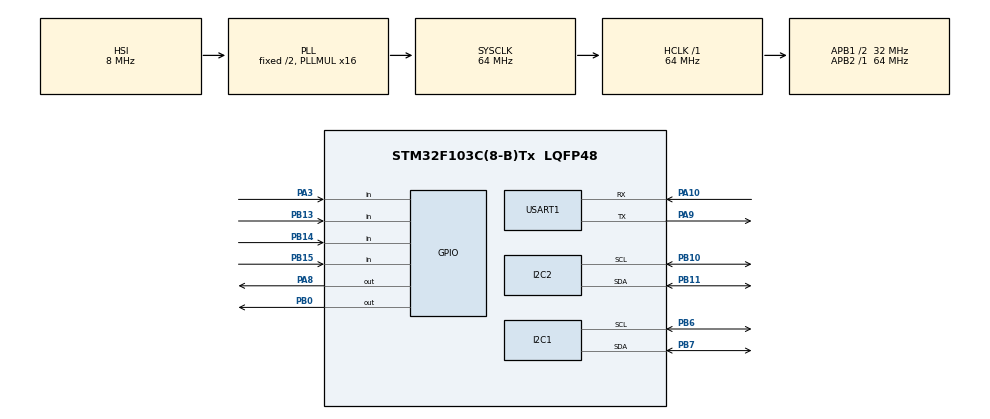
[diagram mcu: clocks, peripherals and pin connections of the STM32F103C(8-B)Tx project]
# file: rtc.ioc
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FREERTOS.Tasks01=Temp_Humid_Task,0,128,Start_Temp_Humid_Task,Default,NULL,Dynamic,NULL,NULL
I2C1.I2C_Mode=I2C_Fast
I2C2.I2C_Mode=I2C_Standard
Mcu.Family=STM32F1
Mcu.Name=STM32F103C(8-B)Tx
Mcu.Package=LQFP48
NVIC.PriorityGroup=NVIC_PRIORITYGROUP_4
PA10.Mode=Asynchronous
PA10.Signal=USART1_RX
PA13.Mode=Serial_Wire
PA13.Signal=SYS_JTMS-SWDIO
PA14.Mode=Serial_Wire
PA14.Signal=SYS_JTCK-SWCLK
PA3.GPIO_PuPd=GPIO_PULLUP
PA3.Signal=GPIO_Input
PA8.Signal=GPIO_Output
PA9.Mode=Asynchronous
PA9.Signal=USART1_TX
PB0.GPIO_ModeDefaultOutputPP=GPIO_MODE_OUTPUT_PP
PB0.GPIO_PuPd=GPIO_PULLUP
PB0.Signal=GPIO_Output
PB10.Mode=I2C
PB10.Signal=I2C2_SCL
PB11.Mode=I2C
PB11.Signal=I2C2_SDA
PB13.GPIO_PuPd=GPIO_PULLUP
PB13.Signal=GPIO_Input
PB14.GPIO_PuPd=GPIO_PULLUP
PB14.Signal=GPIO_Input
PB15.GPIO_PuPd=GPIO_PULLUP
PB15.Signal=GPIO_Input
PB6.Mode=I2C
PB6.Signal=I2C1_SCL
PB7.Mode=I2C
PB7.Signal=I2C1_SDA
ProjectManager.HeapSize=0x200
ProjectManager.StackSize=0x400
ProjectManager.TargetToolchain=MDK-ARM V5.32
RCC.AHBFreq_Value=64000000
RCC.APB1CLKDivider=RCC_HCLK_DIV2
RCC.APB1Freq_Value=32000000
RCC.APB1TimFreq_Value=64000000
RCC.APB2Freq_Value=64000000
RCC.APB2TimFreq_Value=64000000
RCC.HCLKFreq_Value=64000000
RCC.PLLMUL=RCC_PLL_MUL16
RCC.SYSCLKFreq_VALUE=64000000
RCC.SYSCLKSource=RCC_SYSCLKSOURCE_PLLCLK
RCC.USBFreq_Value=64000000
TIM2.Prescaler=63
USART1.VirtualMode=VM_ASYNC
VP_FREERTOS_VS_CMSIS_V1.Mode=CMSIS_V1
VP_TIM2_VS_ClockSourceINT.Mode=Internal
board=custom

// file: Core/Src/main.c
/* USER CODE BEGIN Header */
/**
  ******************************************************************************
  * @file           : main.c
  * @brief          : Main program body
  ******************************************************************************
  * @attention
  *
  * Copyright (c) 2025 STMicroelectronics.
  * All rights reserved.
  *
  * This software is licensed under terms that can be found in the LICENSE file
  * in the root directory of this software component.
  * If no LICENSE file comes with this software, it is provided AS-IS.
  *
  ******************************************************************************
  */
/* USER CODE END Header */
#include "main.h"
#include "cmsis_os.h"

I2C_HandleTypeDef hi2c1;
I2C_HandleTypeDef hi2c2;

TIM_HandleTypeDef htim2;

UART_HandleTypeDef huart1;

osThreadId Temp_Humid_TaskHandle;

void SystemClock_Config(void);
static void MX_GPIO_Init(void);
static void MX_I2C1_Init(void);
static void MX_I2C2_Init(void);
static void MX_TIM2_Init(void);
static void MX_USART1_UART_Init(void);
void Start_Temp_Humid_Task(void const * argument);

/* USER CODE BEGIN 0 */
osThreadId Time_TaskHandle;
void Start_Time_Task(void const * argument);

osThreadId Button_TaskHandle;
void Start_Button_Task(void const * argument);

osMutexId i2cMutex_handle;

#include "ssd1306.h"
#include "fonts.h"
#include "Button.h"
#include "DHT11.h"
#include "stdio.h"
#include "stdarg.h"

#define RTC_ADD (0x68<<1)

uint8_t Dec_to_BCD(uint8_t num);
uint8_t BCD_to_Dec(uint8_t num);
void RTC_set_time_value(void);
void RTC_set_alarm_value(void);
void RTC_alarm_check(void);
void Delay_ms(uint16_t ms);
void Delay_us(uint16_t us);
void DHT_set_output(void);
void DHT_set_input(void);

const char dow_arr[][4] = {{"SUN"},{"MON"},{"TUE"},{"WED"},{"THU"},{"FRI"},{"SAT"}}; //day of week
volatile uint8_t oled_clear_request = 0;

typedef struct{
	int8_t sec;
	int8_t min;
	int8_t hour;
	int8_t dow;
	int8_t date;
	int8_t month;
	int8_t year;
}Time_Data;

typedef enum{
	NORMAL_DISPLAY_STATE,
	CHANGE_HOUR_STATE,
	CHANGE_MIN_STATE,
	CHANGE_DATE_STATE,
	CHANGE_MONTH_STATE,
	CHANGE_YEAR_STATE,
	CHANGE_ALARM_HOUR_STATE,
	CHANGE_ALARM_MIN_STATE,
	//SET_ALARM_STATE,
	//NOT_SET_ALARM_STATE
}RTC_STATE;
RTC_STATE clock_state = NORMAL_DISPLAY_STATE;

Time_Data data_set;

Button_TypeDef btn_function;
Button_TypeDef btn_up;
Button_TypeDef btn_down;
Button_TypeDef btn_confirm;

DHT11_Typedef dht11_val;

int8_t alarm_hour = 1;
int8_t alarm_min;
char buff_uart[40];

uint8_t response;
//uint8_t is_alarm = 0; // alarm not set
//========================================GET TIME AND WRITE TIME=========================
void RTC_write(Time_Data *data)
{
	uint8_t buff_data[8];
	buff_data[0] = 0x00; //start reg address
	buff_data[1] = Dec_to_BCD(data->sec);
	buff_data[2] = Dec_to_BCD(data->min);
	buff_data[3] = Dec_to_BCD(data->hour);
	buff_data[4] = Dec_to_BCD(data->dow);
	buff_data[5] = Dec_to_BCD(data->date);
	buff_data[6] = Dec_to_BCD(data->month);
	buff_data[7] = Dec_to_BCD(data->year);
	HAL_I2C_Master_Transmit(&hi2c2, RTC_ADD, buff_data, 8, 100);
}

void RTC_read(Time_Data *data)
{
	uint8_t buff_data[7];
	uint8_t reg_address = 0;
	HAL_I2C_Master_Transmit(&hi2c2, RTC_ADD, &reg_address, 1, 100);
	HAL_I2C_Master_Receive(&hi2c2, RTC_ADD, buff_data, 7, 100);
	data->sec = BCD_to_Dec(buff_data[0]);
	data->min = BCD_to_Dec(buff_data[1]);
	data->hour = BCD_to_Dec(buff_data[2]);
	data->dow = BCD_to_Dec(buff_data[3]);
	data->date = BCD_to_Dec(buff_data[4]);
	data->month = BCD_to_Dec(buff_data[5]);
	data->year = BCD_to_Dec(buff_data[6]);
}

uint8_t Dec_to_BCD(uint8_t num)
{
	return (num/10)<<4|(num%10);
}

uint8_t BCD_to_Dec(uint8_t num)
{
	return (num>>4)*10+(num&0x0F);
}
//============================================date, month, year handle============================
uint8_t RTC_get_day_of_week(Time_Data *data)
{
	uint16_t date = data->date;
	uint16_t month = data->month;
	uint16_t year = 2000 + data->year;
	uint16_t dow = (date += month < 3 ? year-- : year-2, 23*month/9 + date + 4 + year/4 - year/100 + year/400)%7;
	return dow;
}

uint8_t RTC_check_leap_year(uint8_t year)
{
	if((year % 4) == 0 & (year % 100) != 0 || (year % 400) == 0)
	{
		return 1;
	}
	return 0;
}

uint8_t RTC_get_day_of_month(uint8_t month, uint8_t year)
{
	switch(month)
	{
		case 1: case 3: case 5: case 7: case 8: case 10: case 12:
			return 31;
			break;
		case 4: case 6: case 9: case 11:
			return 30;
			break;
		case 2:
			if(RTC_check_leap_year(year))
			{
				return 29;
			}
	}
	return 28;
}

//==================================Main screen handle==================================================
void RTC_display()
{
	uint8_t buff_hour[16];
	uint8_t buff_date[16];
	uint8_t buff_temp[16];
	uint8_t buff_humid[16];
	uint8_t buff_alarm_status[16];
	uint8_t dow = RTC_get_day_of_week(&data_set);

	sprintf((char*)buff_hour, "%02d:%02d:%02d", data_set.hour, data_set.min, data_set.sec);
	sprintf((char*)buff_date, "%s  %02d/%02d/20%02d", dow_arr[dow], data_set.date,
													data_set.month, data_set.year);
	sprintf((char*)buff_temp, "Temp: %d.%d*C", dht11_val.int_Temp, dht11_val.dec_Temp);
	sprintf((char*)buff_humid, "Humid: %d%s", dht11_val.int_RH, "%RH");

	static uint32_t time_read = 0;
	if(HAL_GetTick() - time_read >= 1000)
	{
		osMutexWait(i2cMutex_handle, osWaitForever);
		//=======Display time=======================
		RTC_read(&data_set);
		SSD1306_GotoXY(10,0);
		SSD1306_Puts((char*)buff_hour, &Font_7x10, 1);
		SSD1306_GotoXY(10,15); //col; row
		SSD1306_Puts((char*)buff_date, &Font_7x10, 1);
		//=======Display temp and humid============
		SSD1306_GotoXY(10,30);
		SSD1306_Puts((char*)buff_temp, &Font_7x10, 1);
		SSD1306_GotoXY(10,45);
		SSD1306_Puts((char*)buff_humid, &Font_7x10, 1);

		SSD1306_UpdateScreen();
		osMutexRelease(i2cMutex_handle);
		time_read = HAL_GetTick();
	}

}

void RTC_handle()
{
	switch(clock_state)
	{
		case NORMAL_DISPLAY_STATE:
			RTC_display();
			RTC_alarm_check();
			break;
		case CHANGE_HOUR_STATE:
		case CHANGE_MIN_STATE:
		case CHANGE_DATE_STATE:
		case CHANGE_MONTH_STATE:
		case CHANGE_YEAR_STATE:
			RTC_set_time_value();
			break;
		case CHANGE_ALARM_HOUR_STATE:
		case CHANGE_ALARM_MIN_STATE:
			RTC_set_alarm_value();
			break;
		default: break;
	}
}
//===============================Setting main screen RTC params===================
void RTC_set_time_value()
{
	static uint32_t time = 0;
	static uint8_t is_showing = 1;
	char buff_line1[16];
	char buff_line2[16];

	if(HAL_GetTick() - time > 300)
	{
		osMutexWait(i2cMutex_handle, osWaitForever);
		is_showing = !is_showing;
		RTC_read(&data_set);
		uint8_t dow = RTC_get_day_of_week(&data_set);
		sprintf((char*)buff_line1, "%02d:%02d:%02d", data_set.hour, data_set.min, data_set.sec);
		sprintf((char*)buff_line2, "%s  %02d/%02d/20%02d", dow_arr[dow], data_set.date,
														   data_set.month, data_set.year);
		if(!is_showing)
		{
			switch(clock_state)
			{
				case CHANGE_HOUR_STATE:
					buff_line1[0] = buff_line1[1] = ' ';
					break;
				case CHANGE_MIN_STATE:
					buff_line1[3] = buff_line1[4] = ' ';
					break;
				case CHANGE_DATE_STATE:
					buff_line2[5] = buff_line2[6] = ' ';
					break;
				case CHANGE_MONTH_STATE:
					buff_line2[8] = buff_line2[9] = ' ';
					break;
				case CHANGE_YEAR_STATE:
					buff_line2[11] = buff_line2[12] = buff_line2[13] = buff_line2[14] = ' ';
					break;
			}
		}
		SSD1306_GotoXY(10,0);
		SSD1306_Puts((char*)buff_line1, &Font_7x10, 1);

		SSD1306_GotoXY(10,15); //col; row
		SSD1306_Puts((char*)buff_line2, &Font_7x10, 1);

		SSD1306_UpdateScreen();
		osMutexRelease(i2cMutex_handle);
		time = HAL_GetTick();
	}
}

//==================================ALARM HANDLE===================================
uint8_t alarm_status;
void RTC_alarm_check()
{
	if(alarm_hour == data_set.hour && alarm_min == data_set.min)
	{
		static uint32_t time;
		if(HAL_GetTick() - time > 300)
		{
			alarm_status = !alarm_status;
			HAL_GPIO_WritePin(GPIOA, GPIO_PIN_8, alarm_status);
			time = HAL_GetTick();
		}
	}
	HAL_GPIO_WritePin(GPIOA, GPIO_PIN_8, 0);

}

void RTC_set_alarm_value()
{
	static uint32_t time = 0;
	static uint8_t is_showing = 1;
	char buff_alarm_time[16];

	if(HAL_GetTick() - time > 300)
	{
		osMutexWait(i2cMutex_handle, osWaitForever);
		is_showing = !is_showing;
		RTC_read(&data_set);
		sprintf(buff_alarm_time, "%02d : %02d", alarm_hour, alarm_min);
		if(!is_showing)
		{
			switch(clock_state)
			{
				case CHANGE_ALARM_HOUR_STATE:
					buff_alarm_time[0] = buff_alarm_time[1] = ' ';
					break;
				case CHANGE_ALARM_MIN_STATE:
					buff_alarm_time[5] = buff_alarm_time[6] = ' ';
					break;
				default:
					break;
			}
		}
		SSD1306_GotoXY(0,0);
		SSD1306_Puts("ALARM CLOCK", &Font_11x18, 1);

		SSD1306_GotoXY(10,30); //col; row
		SSD1306_Puts(buff_alarm_time, &Font_11x18, 1);

		SSD1306_UpdateScreen();
		osMutexRelease(i2cMutex_handle);
		time = HAL_GetTick();
	}
}

//============================CHANGE CLOCK VALUE=======================
void RTC_change_val(int8_t *clock_val, int8_t low_limit, int8_t up_limit, int8_t plus)
{
	if(plus)
	{
		(*clock_val)++;
		if(*clock_val > up_limit)
		{
				*clock_val = low_limit;
		}
	}
	else
	{
		(*clock_val)--;
		if(*clock_val < low_limit)
		{
				*clock_val = up_limit;
		}
	}
}

void RTC_value_button_handle(int8_t plus)
{
switch(clock_state)
		{
			case CHANGE_HOUR_STATE:
			{
				osMutexWait(i2cMutex_handle, osWaitForever);
				RTC_change_val(&data_set.hour,0,23,plus);
				RTC_write(&data_set);
				osMutexRelease(i2cMutex_handle);
				break;
			}
			case CHANGE_MIN_STATE:
			{
				osMutexWait(i2cMutex_handle, osWaitForever);
				RTC_change_val(&data_set.min,0,59,plus);
				RTC_write(&data_set);
				osMutexRelease(i2cMutex_handle);
				break;
			}
			case CHANGE_DATE_STATE:
			{
				osMutexWait(i2cMutex_handle, osWaitForever);
				uint8_t day_in_mon = RTC_get_day_of_month(data_set.month, data_set.year);
				RTC_change_val(&data_set.date,1,day_in_mon,plus);
				RTC_write(&data_set);
				osMutexRelease(i2cMutex_handle);
				break;
			}
			case CHANGE_MONTH_STATE:
			{
				osMutexWait(i2cMutex_handle, osWaitForever);
				RTC_change_val(&data_set.month,1,12,plus);
				RTC_write(&data_set);
				osMutexRelease(i2cMutex_handle);
				break;
			}
			case CHANGE_YEAR_STATE:
			{
				osMutexWait(i2cMutex_handle, osWaitForever);
				RTC_change_val(&data_set.year,0,99,plus);
				RTC_write(&data_set);
				osMutexRelease(i2cMutex_handle);
				break;
			}
			case CHANGE_ALARM_HOUR_STATE:
			{
				RTC_change_val(&alarm_hour,0,23,plus);
				break;
			}
			case CHANGE_ALARM_MIN_STATE:
			{
				RTC_change_val(&alarm_min,0,59,plus);
				break;
			}
			default:
				break;
		}
}
//============================BUTTON HANDLE===================
void btnpress_callback(Button_TypeDef *Buttonx)
{
	if(Buttonx == &btn_up)
	{
		RTC_value_button_handle(1);
	}
	else if(Buttonx == &btn_down)
	{
		RTC_value_button_handle(0);
	}
}

void short_press_callback(Button_TypeDef *Buttonx)
{
	if(Buttonx == &btn_function)
	{
		switch(clock_state)
		{
			case NORMAL_DISPLAY_STATE:
				clock_state = CHANGE_HOUR_STATE;
				break;
			case CHANGE_HOUR_STATE:
				clock_state = CHANGE_MIN_STATE;
				break;
			case CHANGE_MIN_STATE:
				clock_state = CHANGE_DATE_STATE;
				break;
			case CHANGE_DATE_STATE:
				clock_state = CHANGE_MONTH_STATE;
				break;
			case CHANGE_MONTH_STATE:
				clock_state = CHANGE_YEAR_STATE;
				break;
			case CHANGE_YEAR_STATE:
				clock_state = NORMAL_DISPLAY_STATE;
				break;
			//=======Temporary====================
			case CHANGE_ALARM_HOUR_STATE:
				clock_state = CHANGE_ALARM_MIN_STATE;
				break;
			case CHANGE_ALARM_MIN_STATE:
				osMutexWait(i2cMutex_handle, osWaitForever);
				SSD1306_Clear();
				osMutexWait(i2cMutex_handle, osWaitForever);
				clock_state = NORMAL_DISPLAY_STATE;
				break;
			default:
				break;
		}
	}
}

void long_press_callback(Button_TypeDef *Buttonx)
{
	if(Buttonx == &btn_function)
	{
		clock_state = CHANGE_ALARM_HOUR_STATE;
		oled_clear_request = 1;
//		SSD1306_Clear();
//		SSD1306_GotoXY(0,0);
//		SSD1306_Puts("ALARM CLOCK", &Font_11x18, 1);
//		SSD1306_UpdateScreen();
	}
}
//==============================UART PRINT==============================
void Print_uart(const char*format,...)
{
	for(uint8_t i=0; i<40; i++)
	{
		buff_uart[i] = 0;
	}
	va_list args;
	va_start(args, format);
	vsnprintf(buff_uart, sizeof(buff_uart), format, args);
	va_end(args);
	HAL_UART_Transmit(&huart1, (uint8_t*)buff_uart, 40, 1000);
}

void I2C_Scan(I2C_HandleTypeDef *hi2c) {
    char msg[64];
    for (uint8_t i = 1; i < 127; i++) {
        if (HAL_I2C_IsDeviceReady(hi2c, (uint16_t)(i<<1), 1, 10) == HAL_OK) {
            sprintf(msg, "I2C device found at 0x%X\r\n", i);
            HAL_UART_Transmit(&huart1, (uint8_t*)msg, strlen(msg), 100);
        }
    }
}
/* USER CODE END 0 */

int main(void)
{

  /* MCU Configuration--------------------------------------------------------*/

  /* Reset of all peripherals, Initializes the Flash interface and the Systick. */
  HAL_Init();

  /* Configure the system clock */
  SystemClock_Config();

  /* Initialize all configured peripherals */
  MX_GPIO_Init();
  MX_I2C1_Init();
  MX_I2C2_Init();
  MX_TIM2_Init();
  MX_USART1_UART_Init();
  /* USER CODE BEGIN 2 */

	DHT11_init(&htim2);
	//SSD1306_Init();
	Button_init(&btn_function, GPIOB, GPIO_PIN_13);
	Button_init(&btn_up, GPIOB, GPIO_PIN_14);
	Button_init(&btn_down, GPIOB, GPIO_PIN_15);
	Button_init(&btn_confirm, GPIOA, GPIO_PIN_3);
//  data_set.sec = 30;
//  data_set.min = 56;
//  data_set.hour = 16;
//  data_set.date = 12;
//  data_set.month = 8;
//  data_set.year = 25;
//  RTC_write(&data_set);

  /* USER CODE END 2 */

  /* USER CODE BEGIN RTOS_MUTEX */
  /* add mutexes, ... */
  osMutexDef(i2c_Mutex);
  i2cMutex_handle = osMutexCreate(osMutex(i2c_Mutex));
  /* USER CODE END RTOS_MUTEX */

  /* Create the thread(s) */
  /* definition and creation of Temp_Humid_Task */
  osThreadDef(Temp_Humid_Task, Start_Temp_Humid_Task, osPriorityNormal, 0, 128);
  Temp_Humid_TaskHandle = osThreadCreate(osThread(Temp_Humid_Task), NULL);

  /* USER CODE BEGIN RTOS_THREADS */
  osThreadDef(Time_Task, Start_Time_Task, 1, 0, 128);
  Time_TaskHandle = osThreadCreate(osThread(Time_Task), NULL);

  osThreadDef(Button_Task, Start_Button_Task, 1, 0, 128);
  Button_TaskHandle = osThreadCreate(osThread(Button_Task), NULL);
  /* add threads, ... */
  /* USER CODE END RTOS_THREADS */

  /* Start scheduler */
  osKernelStart();

  /* We should never get here as control is now taken by the scheduler */

  /* Infinite loop */
  while (1)
  {

  }
}

void SystemClock_Config(void)
{
  RCC_OscInitTypeDef RCC_OscInitStruct = {0};
  RCC_ClkInitTypeDef RCC_ClkInitStruct = {0};

  /** Initializes the RCC Oscillators according to the specified parameters
  * in the RCC_OscInitTypeDef structure.
  */
  RCC_OscInitStruct.OscillatorType = RCC_OSCILLATORTYPE_HSI;
  RCC_OscInitStruct.HSIState = RCC_HSI_ON;
  RCC_OscInitStruct.HSICalibrationValue = RCC_HSICALIBRATION_DEFAULT;
  RCC_OscInitStruct.PLL.PLLState = RCC_PLL_ON;
  RCC_OscInitStruct.PLL.PLLSource = RCC_PLLSOURCE_HSI_DIV2;
  RCC_OscInitStruct.PLL.PLLMUL = RCC_PLL_MUL16;
  if (HAL_RCC_OscConfig(&RCC_OscInitStruct) != HAL_OK)
  {
    Error_Handler();
  }

  /** Initializes the CPU, AHB and APB buses clocks
  */
  RCC_ClkInitStruct.ClockType = RCC_CLOCKTYPE_HCLK|RCC_CLOCKTYPE_SYSCLK
                              |RCC_CLOCKTYPE_PCLK1|RCC_CLOCKTYPE_PCLK2;
  RCC_ClkInitStruct.SYSCLKSource = RCC_SYSCLKSOURCE_PLLCLK;
  RCC_ClkInitStruct.AHBCLKDivider = RCC_SYSCLK_DIV1;
  RCC_ClkInitStruct.APB1CLKDivider = RCC_HCLK_DIV2;
  RCC_ClkInitStruct.APB2CLKDivider = RCC_HCLK_DIV1;

  if (HAL_RCC_ClockConfig(&RCC_ClkInitStruct, FLASH_LATENCY_2) != HAL_OK)
  {
    Error_Handler();
  }
}

static void MX_I2C1_Init(void)
{

  hi2c1.Instance = I2C1;
  hi2c1.Init.ClockSpeed = 400000;
  hi2c1.Init.DutyCycle = I2C_DUTYCYCLE_2;
  hi2c1.Init.OwnAddress1 = 0;
  hi2c1.Init.AddressingMode = I2C_ADDRESSINGMODE_7BIT;
  hi2c1.Init.DualAddressMode = I2C_DUALADDRESS_DISABLE;
  hi2c1.Init.OwnAddress2 = 0;
  hi2c1.Init.GeneralCallMode = I2C_GENERALCALL_DISABLE;
  hi2c1.Init.NoStretchMode = I2C_NOSTRETCH_DISABLE;
  if (HAL_I2C_Init(&hi2c1) != HAL_OK)
  {
    Error_Handler();
  }

}

static void MX_I2C2_Init(void)
{

  hi2c2.Instance = I2C2;
  hi2c2.Init.ClockSpeed = 100000;
  hi2c2.Init.DutyCycle = I2C_DUTYCYCLE_2;
  hi2c2.Init.OwnAddress1 = 0;
  hi2c2.Init.AddressingMode = I2C_ADDRESSINGMODE_7BIT;
  hi2c2.Init.DualAddressMode = I2C_DUALADDRESS_DISABLE;
  hi2c2.Init.OwnAddress2 = 0;
  hi2c2.Init.GeneralCallMode = I2C_GENERALCALL_DISABLE;
  hi2c2.Init.NoStretchMode = I2C_NOSTRETCH_DISABLE;
  if (HAL_I2C_Init(&hi2c2) != HAL_OK)
  {
    Error_Handler();
  }

}

static void MX_TIM2_Init(void)
{

  TIM_ClockConfigTypeDef sClockSourceConfig = {0};
  TIM_MasterConfigTypeDef sMasterConfig = {0};

  htim2.Instance = TIM2;
  htim2.Init.Prescaler = 63;
  htim2.Init.CounterMode = TIM_COUNTERMODE_UP;
  htim2.Init.Period = 65535;
  htim2.Init.ClockDivision = TIM_CLOCKDIVISION_DIV1;
  htim2.Init.AutoReloadPreload = TIM_AUTORELOAD_PRELOAD_DISABLE;
  if (HAL_TIM_Base_Init(&htim2) != HAL_OK)
  {
    Error_Handler();
  }
  sClockSourceConfig.ClockSource = TIM_CLOCKSOURCE_INTERNAL;
  if (HAL_TIM_ConfigClockSource(&htim2, &sClockSourceConfig) != HAL_OK)
  {
    Error_Handler();
  }
  sMasterConfig.MasterOutputTrigger = TIM_TRGO_RESET;
  sMasterConfig.MasterSlaveMode = TIM_MASTERSLAVEMODE_DISABLE;
  if (HAL_TIMEx_MasterConfigSynchronization(&htim2, &sMasterConfig) != HAL_OK)
  {
    Error_Handler();
  }

}

static void MX_USART1_UART_Init(void)
{

  huart1.Instance = USART1;
  huart1.Init.BaudRate = 115200;
  huart1.Init.WordLength = UART_WORDLENGTH_8B;
  huart1.Init.StopBits = UART_STOPBITS_1;
  huart1.Init.Parity = UART_PARITY_NONE;
  huart1.Init.Mode = UART_MODE_TX_RX;
  huart1.Init.HwFlowCtl = UART_HWCONTROL_NONE;
  huart1.Init.OverSampling = UART_OVERSAMPLING_16;
  if (HAL_UART_Init(&huart1) != HAL_OK)
  {
    Error_Handler();
  }

}

static void MX_GPIO_Init(void)
{
  GPIO_InitTypeDef GPIO_InitStruct = {0};

  /* GPIO Ports Clock Enable */
  __HAL_RCC_GPIOA_CLK_ENABLE();
  __HAL_RCC_GPIOB_CLK_ENABLE();

  /*Configure GPIO pin Output Level */
  HAL_GPIO_WritePin(GPIOB, GPIO_PIN_0, GPIO_PIN_RESET);

  /*Configure GPIO pin Output Level */
  HAL_GPIO_WritePin(GPIOA, GPIO_PIN_8, GPIO_PIN_RESET);

  /*Configure GPIO pin : PA3 */
  GPIO_InitStruct.Pin = GPIO_PIN_3;
  GPIO_InitStruct.Mode = GPIO_MODE_INPUT;
  GPIO_InitStruct.Pull = GPIO_PULLUP;
  HAL_GPIO_Init(GPIOA, &GPIO_InitStruct);

  /*Configure GPIO pin : PB0 */
  GPIO_InitStruct.Pin = GPIO_PIN_0;
  GPIO_InitStruct.Mode = GPIO_MODE_OUTPUT_PP;
  GPIO_InitStruct.Pull = GPIO_PULLUP;
  GPIO_InitStruct.Speed = GPIO_SPEED_FREQ_LOW;
  HAL_GPIO_Init(GPIOB, &GPIO_InitStruct);

  /*Configure GPIO pins : PB13 PB14 PB15 */
  GPIO_InitStruct.Pin = GPIO_PIN_13|GPIO_PIN_14|GPIO_PIN_15;
  GPIO_InitStruct.Mode = GPIO_MODE_INPUT;
  GPIO_InitStruct.Pull = GPIO_PULLUP;
  HAL_GPIO_Init(GPIOB, &GPIO_InitStruct);

  /*Configure GPIO pin : PA8 */
  GPIO_InitStruct.Pin = GPIO_PIN_8;
  GPIO_InitStruct.Mode = GPIO_MODE_OUTPUT_PP;
  GPIO_InitStruct.Pull = GPIO_NOPULL;
  GPIO_InitStruct.Speed = GPIO_SPEED_FREQ_LOW;
  HAL_GPIO_Init(GPIOA, &GPIO_InitStruct);

}

/* USER CODE BEGIN 4 */
void Start_Time_Task(void const * argument)
{
	for(;;)
	{
		if(oled_clear_request == 1)
		{
			osMutexWait(i2cMutex_handle, osWaitForever);
			SSD1306_Clear();
			SSD1306_UpdateScreen();
			osMutexRelease(i2cMutex_handle);

			oled_clear_request = 0;
		}
		RTC_handle();
		I2C_Scan(&hi2c1);
		osDelay(1000);

	}
}

void Start_Button_Task(void const * argument)
{
	for(;;)
	{
		Btn_handle(&btn_function);
		Btn_handle(&btn_down);
		Btn_handle(&btn_up);
		Btn_handle(&btn_confirm);
		osDelay(20);
	}
}

/* USER CODE END 4 */

void Start_Temp_Humid_Task(void const * argument)
{
  /* USER CODE BEGIN 5 */
  /* Infinite loop */
  for(;;)
  {
//	char msg[] = "DHT11 Task running...\r\n";
//	HAL_GPIO_TogglePin(GPIOB, GPIO_PIN_0);
//	HAL_UART_Transmit(&huart1, (uint8_t*)msg, strlen(msg), 100);

	uint8_t buff_temp[16];
	uint8_t buff_humid[16];
	if(DHT11_handle(GPIOB, GPIO_PIN_0, &dht11_val)==0)
	{
		sprintf((char*)buff_temp, "Temp: %d.%d*C\n", dht11_val.int_Temp, dht11_val.dec_Temp);
		sprintf((char*)buff_humid, "Humid: %d%s\n", dht11_val.int_RH, "%RH");
		Print_uart((const char*)buff_temp);
		Print_uart((const char*)buff_humid);
	}
	else
	{
		Print_uart("Read temp, humid error!");
	}

    osDelay(2000);
  }
  /* USER CODE END 5 */
}

void Error_Handler(void)
{
  __disable_irq();
  while (1)
  {
  }
}
